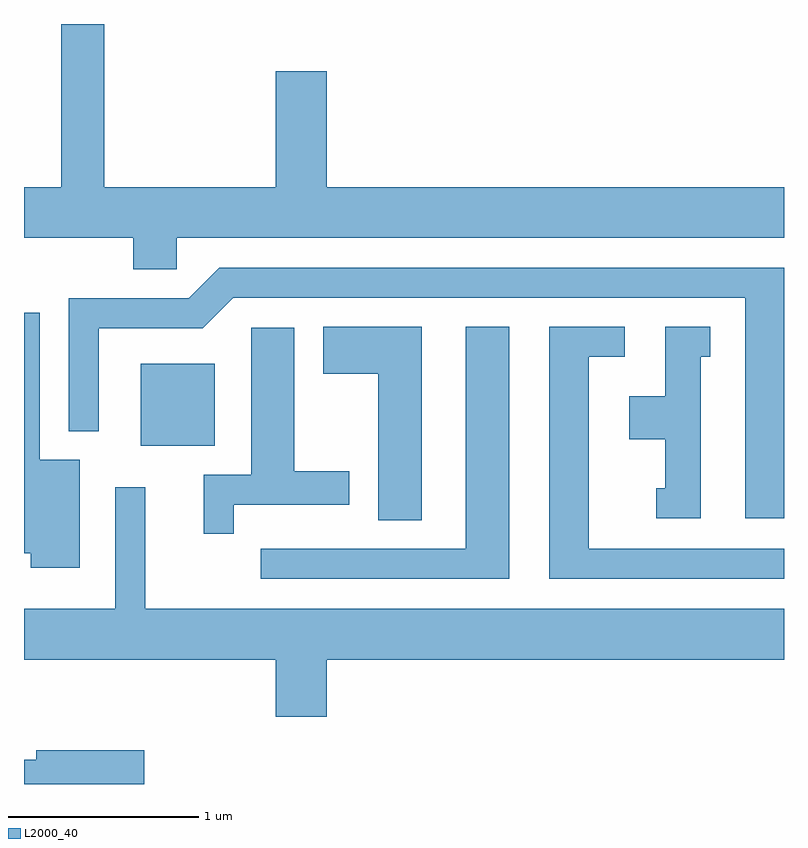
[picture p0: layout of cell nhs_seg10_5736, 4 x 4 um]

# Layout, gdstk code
import gdstk
lib = gdstk.Library(unit=1e-6, precision=1e-09)
def R(c, l, rs):  # rectangles x0, y0, x1, y1
    for r in rs: c.add(gdstk.rectangle(r[:2], r[2:], *l))
def P(c, l, *ps):  # polygons
    for p in ps: c.add(gdstk.Polygon(p, *l))
L2000_40 = (2000, 40)

nhs_seg10_5736 = lib.new_cell('nhs_seg10_5736')
R(nhs_seg10_5736, L2000_40, [(354.226,2188.301,354.614,2188.734)])
P(nhs_seg10_5736, L2000_40, [(354.414,2189.396),(357.611,2189.396),(357.611,2189.664),(355.204,2189.664),(355.204,2190.274),(354.936,2190.274),(354.936,2189.664),(354.034,2189.664),(354.034,2190.522),(353.806,2190.522),(353.806,2189.664),(353.611,2189.664),(353.611,2189.396),(354.186,2189.396),(354.186,2189.231),(354.414,2189.231)],
  [(357.611,2189.239),(354.639,2189.239),(354.479,2189.079),(353.846,2189.079),(353.846,2188.378),(354.004,2188.378),(354.004,2188.921),(354.552,2188.921),(354.712,2189.081),(357.406,2189.081),(357.406,2187.921),(357.611,2187.921)],
  [(353.904,2188.229),(353.694,2188.229),(353.694,2189.003),(353.611,2189.003),(353.611,2187.736),(353.646,2187.736),(353.646,2187.661),(353.904,2187.661)],
  [(356.164,2188.929),(355.936,2188.929),(355.936,2187.759),(354.858,2187.759),(354.858,2187.601),(356.164,2187.601)],
  [(355.704,2188.929),(355.186,2188.929),(355.186,2188.681),(355.476,2188.681),(355.476,2187.911),(355.704,2187.911)],
  [(357.174,2188.771),(357.223,2188.771),(357.223,2188.929),(356.986,2188.929),(356.986,2188.564),(356.796,2188.564),(356.796,2188.336),(356.986,2188.336),(356.986,2188.079),(356.938,2188.079),(356.938,2187.921),(357.174,2187.921)],
  [(357.611,2187.759),(356.584,2187.759),(356.584,2188.771),(356.773,2188.771),(356.773,2188.929),(356.376,2188.929),(356.376,2187.601),(357.611,2187.601)],
  [(354.714,2187.991),(355.324,2187.991),(355.324,2188.169),(355.034,2188.169),(355.034,2188.924),(354.806,2188.924),(354.806,2188.149),(354.556,2188.149),(354.556,2187.838),(354.714,2187.838)],
  [(355.204,2187.176),(357.611,2187.176),(357.611,2187.444),(354.249,2187.444),(354.249,2188.083),(354.091,2188.083),(354.091,2187.444),(353.611,2187.444),(353.611,2187.176),(354.936,2187.176),(354.936,2186.876),(355.204,2186.876)],
  [(354.244,2186.699),(353.676,2186.699),(353.676,2186.649),(353.611,2186.649),(353.611,2186.522),(354.244,2186.522)])

lib.write_gds('nhs_seg10_5736.gds')
